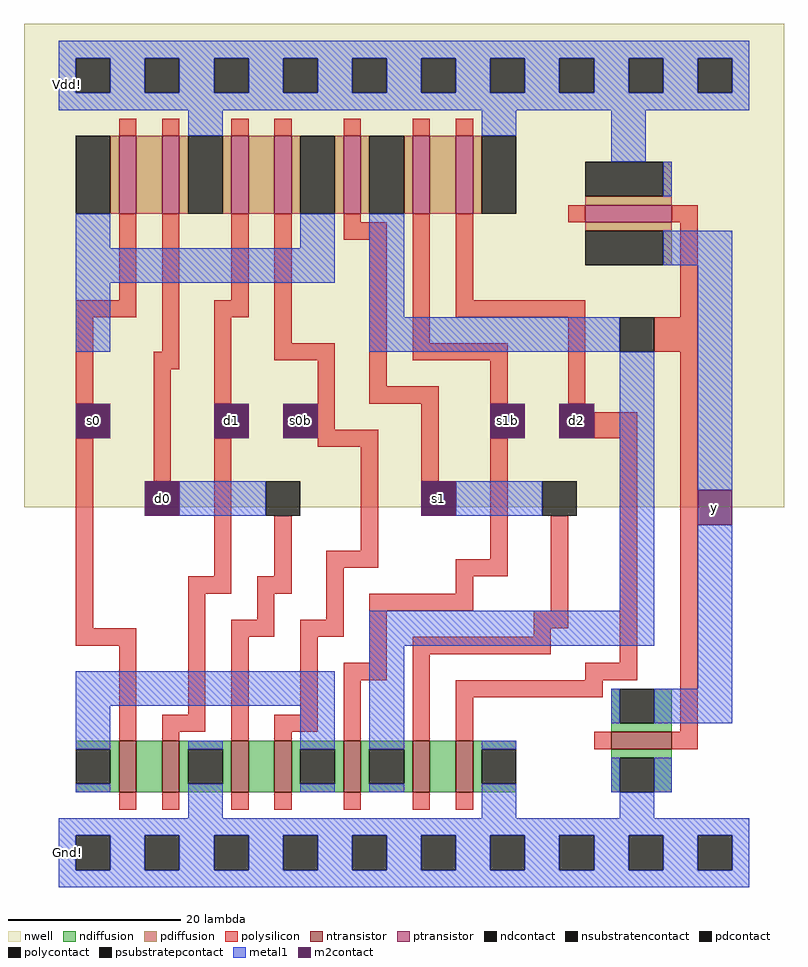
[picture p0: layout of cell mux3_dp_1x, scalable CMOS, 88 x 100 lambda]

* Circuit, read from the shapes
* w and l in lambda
.subckt mux3_dp_1x Gnd! Vdd! d0 d1 d2 s0 s0b s1 s1b y
M1 n1 s0 n2 Gnd! nfet w=6 l=2
M2 Gnd! d1 n1 Gnd! nfet w=6 l=2
M3 n3 d0 Gnd! Gnd! nfet w=6 l=2
M4 n2 s0b n3 Gnd! nfet w=6 l=2
M5 n4 s1b n2 Gnd! nfet w=6 l=2
M6 n5 s1 n4 Gnd! nfet w=6 l=2
M7 Gnd! d2 n5 Gnd! nfet w=6 l=2
M8 y n4 Gnd! Gnd! nfet w=7 l=2
M9 n6 s0 n7 Vdd! pfet w=9 l=2
M10 Vdd! d0 n6 Vdd! pfet w=9 l=2
M11 n8 d1 Vdd! Vdd! pfet w=9 l=2
M12 n7 s0b n8 Vdd! pfet w=9 l=2
M13 n4 s1 n7 Vdd! pfet w=9 l=2
M14 n9 s1b n4 Vdd! pfet w=9 l=2
M15 Vdd! d2 n9 Vdd! pfet w=9 l=2
M16 Vdd! n4 y Vdd! pfet w=10 l=2
.ends

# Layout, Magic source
magic
tech scmos
<< nwell >>
rect -6 40 82 96
<< ntransistor >>
rect 5 7 7 13
rect 10 7 12 13
rect 18 7 20 13
rect 23 7 25 13
rect 31 7 33 13
rect 39 7 41 13
rect 44 7 46 13
rect 62 12 69 14
<< ptransistor >>
rect 5 74 7 83
rect 10 74 12 83
rect 18 74 20 83
rect 23 74 25 83
rect 31 74 33 83
rect 39 74 41 83
rect 44 74 46 83
rect 59 73 69 75
<< ndiffusion >>
rect 62 15 63 19
rect 67 15 69 19
rect 62 14 69 15
rect 0 12 5 13
rect 4 8 5 12
rect 0 7 5 8
rect 7 7 10 13
rect 12 12 18 13
rect 12 8 13 12
rect 17 8 18 12
rect 12 7 18 8
rect 20 7 23 13
rect 25 12 31 13
rect 25 8 26 12
rect 30 8 31 12
rect 25 7 31 8
rect 33 12 39 13
rect 33 8 34 12
rect 38 8 39 12
rect 33 7 39 8
rect 41 7 44 13
rect 46 12 51 13
rect 46 8 47 12
rect 46 7 51 8
rect 62 11 69 12
rect 62 7 63 11
rect 67 7 69 11
<< pdiffusion >>
rect 4 74 5 83
rect 7 74 10 83
rect 12 74 13 83
rect 17 74 18 83
rect 20 74 23 83
rect 25 74 26 83
rect 30 74 31 83
rect 33 74 34 83
rect 38 74 39 83
rect 41 74 44 83
rect 46 74 47 83
rect 68 76 69 80
rect 59 75 69 76
rect 59 72 69 73
rect 68 68 69 72
<< ndcontact >>
rect 63 15 67 19
rect 0 8 4 12
rect 13 8 17 12
rect 26 8 30 12
rect 34 8 38 12
rect 47 8 51 12
rect 63 7 67 11
<< pdcontact >>
rect 0 74 4 83
rect 13 74 17 83
rect 26 74 30 83
rect 34 74 38 83
rect 47 74 51 83
rect 59 76 68 80
rect 59 68 68 72
<< psubstratepcontact >>
rect 0 -2 4 2
rect 8 -2 12 2
rect 16 -2 20 2
rect 24 -2 28 2
rect 32 -2 36 2
rect 40 -2 44 2
rect 48 -2 52 2
rect 56 -2 60 2
rect 64 -2 68 2
rect 72 -2 76 2
<< nsubstratencontact >>
rect 0 88 4 92
rect 8 88 12 92
rect 16 88 20 92
rect 24 88 28 92
rect 32 88 36 92
rect 40 88 44 92
rect 48 88 52 92
rect 56 88 60 92
rect 64 88 68 92
rect 72 88 76 92
<< polysilicon >>
rect 5 83 7 85
rect 10 83 12 85
rect 18 83 20 85
rect 23 83 25 85
rect 31 83 33 85
rect 39 83 41 85
rect 44 83 46 85
rect 5 64 7 74
rect 0 62 7 64
rect 0 52 2 62
rect 10 58 12 74
rect 18 64 20 74
rect 9 56 12 58
rect 16 62 20 64
rect 0 26 2 48
rect 9 43 11 56
rect 16 52 18 62
rect 23 59 25 74
rect 31 73 33 74
rect 31 71 36 73
rect 23 57 30 59
rect 28 49 30 57
rect 34 54 36 71
rect 39 59 41 74
rect 44 64 46 74
rect 57 73 59 75
rect 69 73 72 75
rect 44 62 59 64
rect 70 62 72 73
rect 39 57 50 59
rect 34 52 42 54
rect 16 32 18 48
rect 28 47 35 49
rect 23 32 25 39
rect 33 35 35 47
rect 40 43 42 52
rect 48 52 50 57
rect 57 52 59 62
rect 67 58 72 62
rect 60 48 65 51
rect 13 30 18 32
rect 21 30 25 32
rect 29 33 35 35
rect 48 34 50 48
rect 0 24 7 26
rect 5 13 7 24
rect 13 16 15 30
rect 21 27 23 30
rect 29 27 31 33
rect 44 32 50 34
rect 44 30 46 32
rect 10 14 15 16
rect 18 25 23 27
rect 26 25 31 27
rect 34 28 46 30
rect 55 28 57 39
rect 10 13 12 14
rect 18 13 20 25
rect 26 16 28 25
rect 34 22 36 28
rect 53 26 57 28
rect 53 25 55 26
rect 23 14 28 16
rect 31 20 36 22
rect 39 23 55 25
rect 23 13 25 14
rect 31 13 33 20
rect 39 13 41 23
rect 63 22 65 48
rect 59 20 65 22
rect 44 18 61 20
rect 44 13 46 18
rect 70 14 72 58
rect 60 12 62 14
rect 69 12 72 14
rect 5 5 7 7
rect 10 5 12 7
rect 18 5 20 7
rect 23 5 25 7
rect 31 5 33 7
rect 39 5 41 7
rect 44 5 46 7
<< polycontact >>
rect 0 48 4 52
rect 16 48 20 52
rect 24 48 28 52
rect 8 39 12 43
rect 22 39 26 43
rect 63 58 67 62
rect 48 48 52 52
rect 56 48 60 52
rect 40 39 44 43
rect 54 39 58 43
<< metal1 >>
rect -2 92 78 94
rect -2 88 0 92
rect 4 88 8 92
rect 12 88 16 92
rect 20 88 24 92
rect 28 88 32 92
rect 36 88 40 92
rect 44 88 48 92
rect 52 88 56 92
rect 60 88 64 92
rect 68 88 72 92
rect 76 88 78 92
rect -2 86 78 88
rect 13 83 17 86
rect 47 83 51 86
rect 0 70 4 74
rect 26 70 30 74
rect 0 66 30 70
rect 62 80 66 86
rect 68 76 69 80
rect 0 58 4 66
rect 34 62 38 74
rect 68 68 76 72
rect 34 58 63 62
rect 12 39 22 43
rect 44 39 54 43
rect 63 28 67 58
rect 34 24 67 28
rect 72 42 76 68
rect 0 17 30 21
rect 0 12 4 17
rect 0 7 4 8
rect 13 12 17 13
rect 13 4 17 8
rect 26 12 30 17
rect 26 7 30 8
rect 34 12 38 24
rect 72 19 76 38
rect 62 15 63 19
rect 67 15 76 19
rect 34 7 38 8
rect 47 12 51 13
rect 47 4 51 8
rect 62 7 63 11
rect 67 7 69 11
rect 63 4 67 7
rect -2 2 78 4
rect -2 -2 0 2
rect 4 -2 8 2
rect 12 -2 16 2
rect 20 -2 24 2
rect 28 -2 32 2
rect 36 -2 40 2
rect 44 -2 48 2
rect 52 -2 56 2
rect 60 -2 64 2
rect 68 -2 72 2
rect 76 -2 78 2
rect -2 -4 78 -2
<< m2contact >>
rect 0 48 4 52
rect 16 48 20 52
rect 24 48 28 52
rect 48 48 52 52
rect 56 48 60 52
rect 8 39 12 43
rect 40 39 44 43
rect 72 38 76 42
<< labels >>
rlabel m2contact 2 50 2 50 1 s0
rlabel m2contact 18 50 18 50 1 d1
rlabel m2contact 26 50 26 50 1 s0b
rlabel m2contact 50 50 50 50 1 s1b
rlabel m2contact 58 50 58 50 1 d2
rlabel m2contact 74 40 74 40 1 y
rlabel m2contact 42 41 42 41 1 s1
rlabel m2contact 10 41 10 41 1 d0
rlabel metal1 -1 89 -1 89 3 Vdd!
rlabel metal1 -1 0 -1 0 2 Gnd!
<< end >>
